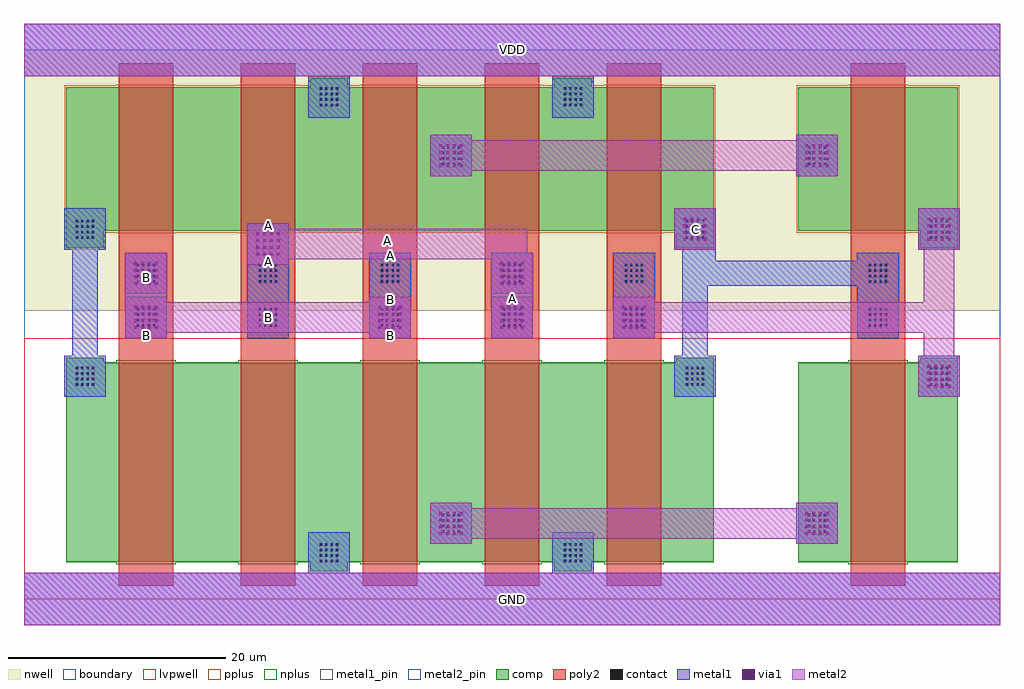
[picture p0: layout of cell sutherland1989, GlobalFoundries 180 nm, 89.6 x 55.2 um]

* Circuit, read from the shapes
.subckt sutherland1989 A B C GND VDD
XM1 n1 B n2 VSUBS nfet_03v3 w=18.3u l=5u
XM2 GND A n1 VSUBS nfet_03v3 w=18.3u l=5u
XM3 n3 B GND VSUBS nfet_03v3 w=18.3u l=5u
XM4 GND A n3 VSUBS nfet_03v3 w=18.3u l=5u
XM5 C n4 GND VSUBS nfet_03v3 w=18.3u l=5u
XM6 n4 C n3 VSUBS nfet_03v3 w=18.3u l=5u
XM7 n5 B n2 n6 pfet_03v3 w=13.2u l=5u
XM8 VDD A n5 n6 pfet_03v3 w=13.2u l=5u
XM9 n7 B VDD n6 pfet_03v3 w=13.2u l=5u
XM10 VDD A n7 n6 pfet_03v3 w=13.2u l=5u
XM11 C n4 VDD n6 pfet_03v3 w=13.2u l=5u
XM12 n4 C n7 n6 pfet_03v3 w=13.2u l=5u
.ends

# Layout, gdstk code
import gdstk
lib = gdstk.Library(unit=1e-6, precision=1e-09)
def R(c, l, rs):  # rectangles x0, y0, x1, y1
    for r in rs: c.add(gdstk.rectangle(r[:2], r[2:], *l))
def A(c, l, x, y, w, h, nx, ny, dx, dy):  # array of equal rectangles
    R(c, l, [(x+i*dx, y+j*dy, x+i*dx+w, y+j*dy+h) for i in range(nx) for j in range(ny)])
boundary = (0, 0)
nwell = (21, 0)
comp = (22, 0)
poly2 = (30, 0)
pplus = (31, 0)
nplus = (32, 0)
contact = (33, 0)
metal1 = (34, 0)
metal1_pin = (34, 10)
via1 = (35, 0)
metal2 = (36, 0)
metal2_pin = (36, 10)
lvpwell = (204, 0)

sutherland1989 = lib.new_cell('sutherland1989')
R(sutherland1989, boundary, [(0,0,89.6,50.4)])
R(sutherland1989, nwell, [(0,26.45,89.6,50.4)])
R(sutherland1989, comp, [(26.3,2.55,29.7,3.4), (48.7,2.55,52.1,3.4), (3.9,3.4,63.3,21.7), (71.1,3.4,85.7,21.7), (3.9,21.7,7.3,22.15), (59.9,21.7,63.3,22.15), (82.3,21.7,85.7,22.15), (3.9,32.25,7.3,33.8), (59.9,32.25,63.3,33.8), (82.3,32.25,85.7,33.8), (3.9,33.8,63.3,47), (71.1,33.8,85.7,47), (26.3,47,29.7,47.8), (48.7,47,52.1,47.8)])
A(sutherland1989, poly2, 8.7, 1.2, 5, 48, 5, 1, 11.2, 0)
R(sutherland1989, poly2, [(75.9,1.2,80.9,49.2)])
A(sutherland1989, pplus, 8.47, 33.57, 5.46, 0.07, 5, 2, 11.2, 13.59)
R(sutherland1989, pplus, [(3.74,32.09,7.46,33.64), (59.74,32.09,63.46,33.64), (82.14,32.09,85.86,33.64), (75.67,33.57,81.13,33.64), (3.74,33.64,63.46,47.16), (70.94,33.64,85.86,47.16), (26.14,47.16,29.86,47.96), (48.54,47.16,52.26,47.96), (75.67,47.16,81.13,47.23)])
A(sutherland1989, nplus, 8.47, 3.17, 5.46, 0.21, 5, 2, 11.2, 18.55)
R(sutherland1989, nplus, [(26.28,2.53,29.72,3.38), (48.68,2.53,52.12,3.38), (75.67,3.17,81.13,3.38), (3.88,3.38,63.32,21.72), (71.08,3.38,85.72,21.72), (3.88,21.72,7.32,22.17), (59.88,21.72,63.32,22.17), (75.67,21.72,81.13,21.93), (82.28,21.72,85.72,22.17)])
A(sutherland1989, contact, 27.14, 3.39, 0.22, 0.22, 4, 4, 0.5, 0.5)
A(sutherland1989, contact, 49.54, 3.39, 0.22, 0.22, 4, 4, 0.5, 0.5)
A(sutherland1989, contact, 38.34, 6.09, 0.22, 0.22, 4, 4, 0.5, 0.5)
A(sutherland1989, contact, 71.94, 6.09, 0.22, 0.22, 4, 4, 0.5, 0.5)
A(sutherland1989, contact, 4.74, 19.59, 0.22, 0.22, 4, 4, 0.5, 0.5)
A(sutherland1989, contact, 60.74, 19.59, 0.22, 0.22, 4, 4, 0.5, 0.5)
A(sutherland1989, contact, 83.14, 19.59, 0.22, 0.22, 4, 4, 0.5, 0.5)
A(sutherland1989, contact, 10.34, 24.99, 0.22, 0.22, 4, 4, 0.5, 0.5)
A(sutherland1989, contact, 21.54, 24.99, 0.22, 0.22, 4, 4, 0.5, 0.5)
A(sutherland1989, contact, 32.74, 24.99, 0.22, 0.22, 4, 4, 0.5, 0.5)
A(sutherland1989, contact, 43.94, 24.99, 0.22, 0.22, 4, 4, 0.5, 0.5)
A(sutherland1989, contact, 55.14, 24.99, 0.22, 0.22, 4, 4, 0.5, 0.5)
A(sutherland1989, contact, 77.54, 24.99, 0.22, 0.22, 4, 4, 0.5, 0.5)
A(sutherland1989, contact, 10.34, 29.04, 0.22, 0.22, 4, 4, 0.5, 0.5)
A(sutherland1989, contact, 21.54, 29.04, 0.22, 0.22, 4, 4, 0.5, 0.5)
A(sutherland1989, contact, 32.74, 29.04, 0.22, 0.22, 4, 4, 0.5, 0.5)
A(sutherland1989, contact, 43.94, 29.04, 0.22, 0.22, 4, 4, 0.5, 0.5)
A(sutherland1989, contact, 55.14, 29.04, 0.22, 0.22, 4, 4, 0.5, 0.5)
A(sutherland1989, contact, 77.54, 29.04, 0.22, 0.22, 4, 4, 0.5, 0.5)
A(sutherland1989, contact, 4.74, 33.09, 0.22, 0.22, 4, 4, 0.5, 0.5)
A(sutherland1989, contact, 60.74, 33.09, 0.22, 0.22, 4, 4, 0.5, 0.5)
A(sutherland1989, contact, 83.14, 33.09, 0.22, 0.22, 4, 4, 0.5, 0.5)
A(sutherland1989, contact, 38.34, 39.84, 0.22, 0.22, 4, 4, 0.5, 0.5)
A(sutherland1989, contact, 71.94, 39.84, 0.22, 0.22, 4, 4, 0.5, 0.5)
A(sutherland1989, contact, 27.14, 45.24, 0.22, 0.22, 4, 4, 0.5, 0.5)
A(sutherland1989, contact, 49.54, 45.24, 0.22, 0.22, 4, 4, 0.5, 0.5)
R(sutherland1989, metal1, [(0,-2.4,89.6,2.4), (26.1,2.4,29.9,6.15), (48.5,2.4,52.3,6.15), (37.3,5.05,41.1,8.85), (70.9,5.05,74.7,8.85), (3.7,18.55,7.5,22.35), (59.7,18.55,63.5,22.35), (82.1,18.55,85.9,22.35), (4.45,22.35,6.75,32.05), (60.45,22.35,62.75,28.75), (9.3,23.95,13.1,27.75), (20.5,23.95,24.3,34.5), (31.7,23.95,35.5,31.8), (42.9,23.95,46.7,27.75), (54.1,23.95,57.9,31.8), (76.5,23.95,80.3,28.75), (9.3,28,13.1,31.8), (42.9,28,46.7,31.8), (60.45,28.75,80.3,31.05), (60.45,31.05,63.5,32.05), (76.5,31.05,80.3,31.8), (3.7,32.05,7.5,35.85), (59.7,32.05,63.5,35.85), (82.1,32.05,85.9,35.85), (37.3,38.8,41.1,42.6), (70.9,38.8,74.7,42.6), (26.1,44.2,29.9,48), (48.5,44.2,52.3,48), (0,48,89.6,52.8)])
R(sutherland1989, metal1_pin, [(0,-2.4,89.6,2.4), (0,48,89.6,52.8)])
A(sutherland1989, via1, 38.14, 5.89, 0.26, 0.26, 4, 4, 0.62, 0.62)
A(sutherland1989, via1, 71.74, 5.89, 0.26, 0.26, 4, 4, 0.62, 0.62)
A(sutherland1989, via1, 82.94, 19.39, 0.26, 0.26, 4, 4, 0.62, 0.62)
A(sutherland1989, via1, 10.14, 24.79, 0.26, 0.26, 4, 4, 0.62, 0.62)
A(sutherland1989, via1, 32.54, 24.79, 0.26, 0.26, 4, 4, 0.62, 0.62)
A(sutherland1989, via1, 43.74, 24.79, 0.26, 0.26, 4, 4, 0.62, 0.62)
A(sutherland1989, via1, 54.94, 24.79, 0.26, 0.26, 4, 4, 0.62, 0.62)
A(sutherland1989, via1, 10.14, 28.84, 0.26, 0.26, 4, 4, 0.62, 0.62)
A(sutherland1989, via1, 43.74, 28.84, 0.26, 0.26, 4, 4, 0.62, 0.62)
A(sutherland1989, via1, 21.34, 31.54, 0.26, 0.26, 4, 4, 0.62, 0.62)
A(sutherland1989, via1, 60.54, 32.89, 0.26, 0.26, 4, 4, 0.62, 0.62)
A(sutherland1989, via1, 82.94, 32.89, 0.26, 0.26, 4, 4, 0.62, 0.62)
A(sutherland1989, via1, 38.14, 39.64, 0.26, 0.26, 4, 4, 0.62, 0.62)
A(sutherland1989, via1, 71.74, 39.64, 0.26, 0.26, 4, 4, 0.62, 0.62)
A(sutherland1989, metal2, 9.3, 23.95, 3.8, 0.5, 3, 1, 22.4, 0)
R(sutherland1989, metal2, [(0,-2.4,89.6,2.4), (37.3,5.05,41.1,5.55), (70.9,5.05,74.7,5.55), (37.3,5.55,74.7,8.35), (37.3,8.35,41.1,8.85), (70.9,8.35,74.7,8.85), (82.1,18.55,85.9,22.35), (82.6,22.35,85.4,24.45), (42.9,23.95,46.7,31.2), (9.3,24.45,35.5,27.25), (54.1,24.45,85.4,27.25), (9.3,27.25,13.1,31.8), (31.7,27.25,35.5,27.75), (54.1,27.25,57.9,27.75), (82.6,27.25,85.4,32.05), (20.5,30.7,24.3,31.2), (20.5,31.2,46.7,31.8), (20.5,31.8,46.2,34), (59.7,32.05,63.5,35.85), (82.1,32.05,85.9,35.85), (20.5,34,24.3,34.5), (37.3,38.8,41.1,39.3), (70.9,38.8,74.7,39.3), (37.3,39.3,74.7,42.1), (37.3,42.1,41.1,42.6), (70.9,42.1,74.7,42.6), (0,48,89.6,52.8)])
R(sutherland1989, metal2_pin, [(9.3,23.95,13.1,24.45), (31.7,23.95,35.5,24.45), (42.9,23.95,46.7,31.2), (9.3,24.45,35.5,27.25), (9.3,27.25,13.1,31.8), (31.7,27.25,35.5,27.75), (20.5,30.7,24.3,31.2), (20.5,31.2,46.7,31.8), (20.5,31.8,46.2,34), (59.7,32.05,63.5,35.85), (20.5,34,24.3,34.5)])
R(sutherland1989, lvpwell, [(0,0,89.6,23.95)])
sutherland1989.add(gdstk.Label('VDD', (44.8,50.4), layer=34, texttype=10))
sutherland1989.add(gdstk.Label('GND', (44.8,0), layer=34, texttype=10))
sutherland1989.add(gdstk.Label('C', (61.6,33.95), layer=36, texttype=10))
sutherland1989.add(gdstk.Label('A', (22.4,30.95), layer=36, texttype=10))
sutherland1989.add(gdstk.Label('A', (44.8,27.575), layer=36, texttype=10))
sutherland1989.add(gdstk.Label('A', (33.6,31.5), layer=36, texttype=10))
sutherland1989.add(gdstk.Label('A', (33.35,32.9), layer=36, texttype=10))
sutherland1989.add(gdstk.Label('A', (22.4,34.25), layer=36, texttype=10))
sutherland1989.add(gdstk.Label('B', (11.2,24.2), layer=36, texttype=10))
sutherland1989.add(gdstk.Label('B', (33.6,24.2), layer=36, texttype=10))
sutherland1989.add(gdstk.Label('B', (22.4,25.85), layer=36, texttype=10))
sutherland1989.add(gdstk.Label('B', (33.6,27.5), layer=36, texttype=10))
sutherland1989.add(gdstk.Label('B', (11.2,29.525), layer=36, texttype=10))

lib.write_gds('sutherland1989.gds')
